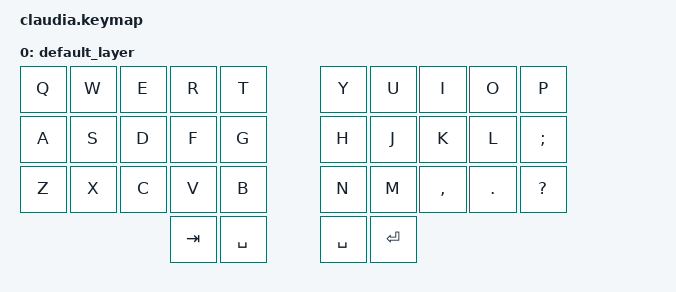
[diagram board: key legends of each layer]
#include <behaviors.dtsi>
#include <dt-bindings/zmk/keys.h>
#include <dt-bindings/zmk/bt.h>

/ {
        keymap {
        compatible = "zmk,keymap";

        default_layer { // Layer 0
// ----------------------------------------------
// |     Z     |     M     |     K     |
// |     A     |     B     |     C     |
            bindings = <
                &kp Q   &kp W    &kp E   &kp R   &kp T      &kp Y      &kp U   &kp I       &kp O     &kp P
                &kp A   &kp S    &kp D   &kp F   &kp G      &kp H      &kp J   &kp K       &kp L     &kp SEMI
                &kp Z   &kp X    &kp C   &kp V   &kp B      &kp N      &kp M   &kp COMMA   &kp DOT   &kp QMARK
                                         &kp TAB &kp SPACE  &kp SPACE  &kp RET
            >;
        };
    };
};
